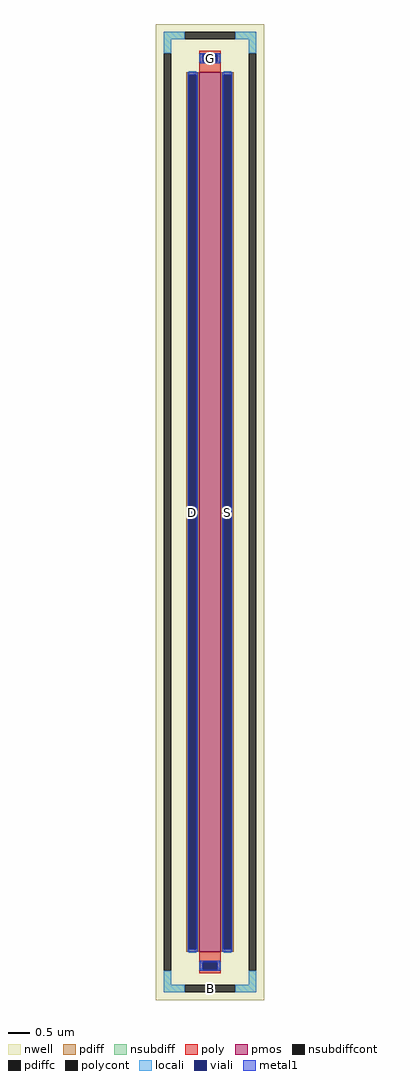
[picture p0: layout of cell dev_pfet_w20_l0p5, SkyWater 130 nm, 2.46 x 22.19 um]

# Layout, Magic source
magic
tech sky130A
magscale 1 2
<< nwell >>
rect -246 -2219 246 2219
<< pmos >>
rect -50 -2000 50 2000
<< pdiff >>
rect -108 1988 -50 2000
rect -108 -1988 -96 1988
rect -62 -1988 -50 1988
rect -108 -2000 -50 -1988
rect 50 1988 108 2000
rect 50 -1988 62 1988
rect 96 -1988 108 1988
rect 50 -2000 108 -1988
<< pdiffc >>
rect -96 -1988 -62 1988
rect 62 -1988 96 1988
<< nsubdiff >>
rect -210 2149 -114 2183
rect 114 2149 210 2183
rect -210 2087 -176 2149
rect 176 2087 210 2149
rect -210 -2149 -176 -2087
rect 176 -2149 210 -2087
rect -210 -2183 -114 -2149
rect 114 -2183 210 -2149
<< nsubdiffcont >>
rect -114 2149 114 2183
rect -210 -2087 -176 2087
rect 176 -2087 210 2087
rect -114 -2183 114 -2149
<< poly >>
rect -50 2081 50 2097
rect -50 2047 -34 2081
rect 34 2047 50 2081
rect -50 2000 50 2047
rect -50 -2047 50 -2000
rect -50 -2081 -34 -2047
rect 34 -2081 50 -2047
rect -50 -2097 50 -2081
<< polycont >>
rect -34 2047 34 2081
rect -34 -2081 34 -2047
<< locali >>
rect -210 2149 -114 2183
rect 114 2149 210 2183
rect -210 2087 -176 2149
rect 176 2087 210 2149
rect -50 2047 -34 2081
rect 34 2047 50 2081
rect -96 1988 -62 2004
rect -96 -2004 -62 -1988
rect 62 1988 96 2004
rect 62 -2004 96 -1988
rect -50 -2081 -34 -2047
rect 34 -2081 50 -2047
rect -210 -2149 -176 -2087
rect 176 -2149 210 -2087
rect -210 -2183 -114 -2149
rect 114 -2183 210 -2149
<< viali >>
rect -34 2047 34 2081
rect -96 -1988 -62 1988
rect 62 -1988 96 1988
rect -34 -2081 34 -2047
<< metal1 >>
rect -46 2081 46 2087
rect -46 2047 -34 2081
rect 34 2047 46 2081
rect -46 2041 46 2047
rect -102 1988 -56 2000
rect -102 -1988 -96 1988
rect -62 -1988 -56 1988
rect -102 -2000 -56 -1988
rect 56 1988 102 2000
rect 56 -1988 62 1988
rect 96 -1988 102 1988
rect 56 -2000 102 -1988
rect -46 -2047 46 -2041
rect -46 -2081 -34 -2047
rect 34 -2081 46 -2047
rect -46 -2087 46 -2081
<< labels >>
rlabel nsubdiffcont 0 -2166 0 -2166 0 B
port 1 nsew
rlabel pdiffc -79 0 -79 0 0 D
port 2 nsew
rlabel pdiffc 79 0 79 0 0 S
port 3 nsew
rlabel polycont 0 2064 0 2064 0 G
port 4 nsew
<< properties >>
string FIXED_BBOX -193 -2166 193 2166
string gencell sky130_fd_pr__pfet_01v8
string library sky130
string parameters w 20 l 0.5 m 1 nf 1 diffcov 100 polycov 100 guard 1 glc 1 grc 1 gtc 1 gbc 1 tbcov 100 rlcov 100 topc 1 botc 1 poverlap 0 doverlap 1 lmin 0.15 wmin 0.42 class mosfet compatible {sky130_fd_pr__pfet_01v8  sky130_fd_pr__pfet_01v8_lvt sky130_fd_pr__pfet_01v8_hvt  sky130_fd_pr__pfet_g5v0d10v5} full_metal 1 conn_gates 0 viasrc 100 viadrn 100 viagate 100 viagb 0 viagr 0 viagl 0 viagt 0 doports 1
<< end >>
